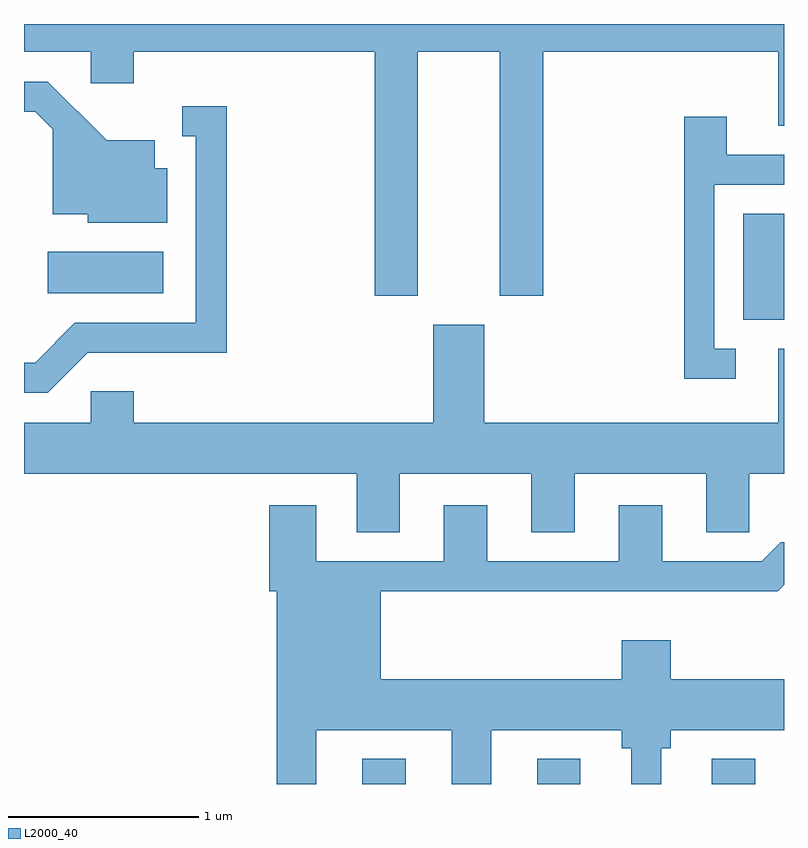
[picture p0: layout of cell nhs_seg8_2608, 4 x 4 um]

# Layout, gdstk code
import gdstk
lib = gdstk.Library(unit=1e-6, precision=1e-09)
def R(c, l, rs):  # rectangles x0, y0, x1, y1
    for r in rs: c.add(gdstk.rectangle(r[:2], r[2:], *l))
def A(c, l, x, y, w, h, nx, ny, dx, dy):  # array of equal rectangles
    R(c, l, [(x+i*dx, y+j*dy, x+i*dx+w, y+j*dy+h) for i in range(nx) for j in range(ny)])
def P(c, l, *ps):  # polygons
    for p in ps: c.add(gdstk.Polygon(p, *l))
L2000_40 = (2000, 40)

nhs_seg8_2608 = lib.new_cell('nhs_seg8_2608')
A(nhs_seg8_2608, L2000_40, 265.391, 1830.342, 0.228, 0.132, 3, 1, 0.92, 0)
R(nhs_seg8_2608, L2000_40, [(267.396,1832.786,267.611,1833.344), (263.736,1832.926,264.344,1833.144)])
P(nhs_seg8_2608, L2000_40, [(265.684,1834.196),(266.116,1834.196),(266.116,1832.911),(266.344,1832.911),(266.344,1834.196),(267.581,1834.196),(267.581,1833.806),(267.611,1833.806),(267.611,1834.342),(263.611,1834.342),(263.611,1834.196),(263.961,1834.196),(263.961,1834.031),(264.189,1834.031),(264.189,1834.196),(265.456,1834.196),(265.456,1832.911),(265.684,1832.911)],
  [(264.364,1833.584),(264.299,1833.584),(264.299,1833.729),(264.047,1833.729),(263.737,1834.039),(263.611,1834.039),(263.611,1833.881),(263.669,1833.881),(263.761,1833.789),(263.761,1833.341),(263.946,1833.341),(263.946,1833.296),(264.364,1833.296)],
  [(263.947,1832.611),(264.679,1832.611),(264.679,1833.909),(264.443,1833.909),(264.443,1833.751),(264.516,1833.751),(264.516,1832.769),(263.879,1832.769),(263.669,1832.559),(263.611,1832.559),(263.611,1832.401),(263.737,1832.401)],
  [(267.358,1832.634),(267.244,1832.634),(267.244,1833.496),(267.611,1833.496),(267.611,1833.654),(267.309,1833.654),(267.309,1833.854),(267.086,1833.854),(267.086,1832.476),(267.358,1832.476)],
  [(265.589,1831.976),(266.281,1831.976),(266.281,1831.666),(266.509,1831.666),(266.509,1831.976),(267.201,1831.976),(267.201,1831.666),(267.429,1831.666),(267.429,1831.976),(267.611,1831.976),(267.611,1832.634),(267.581,1832.634),(267.581,1832.244),(266.034,1832.244),(266.034,1832.759),(265.766,1832.759),(265.766,1832.244),(264.189,1832.244),(264.189,1832.409),(263.961,1832.409),(263.961,1832.244),(263.611,1832.244),(263.611,1831.976),(265.361,1831.976),(265.361,1831.666),(265.589,1831.666)],
  [(265.149,1830.626),(265.861,1830.626),(265.861,1830.342),(266.069,1830.342),(266.069,1830.626),(266.756,1830.626),(266.756,1830.531),(266.806,1830.531),(266.806,1830.342),(266.964,1830.342),(266.964,1830.531),(267.014,1830.531),(267.014,1830.626),(267.611,1830.626),(267.611,1830.894),(267.014,1830.894),(267.014,1831.099),(266.756,1831.099),(266.756,1830.894),(265.489,1830.894),(265.489,1831.356),(267.577,1831.356),(267.611,1831.39),(267.611,1831.614),(267.594,1831.614),(267.494,1831.514),(266.969,1831.514),(266.969,1831.809),(266.741,1831.809),(266.741,1831.514),(266.049,1831.514),(266.049,1831.809),(265.821,1831.809),(265.821,1831.514),(265.149,1831.514),(265.149,1831.809),(264.901,1831.809),(264.901,1831.356),(264.941,1831.356),(264.941,1830.342),(265.149,1830.342)])

lib.write_gds('nhs_seg8_2608.gds')
